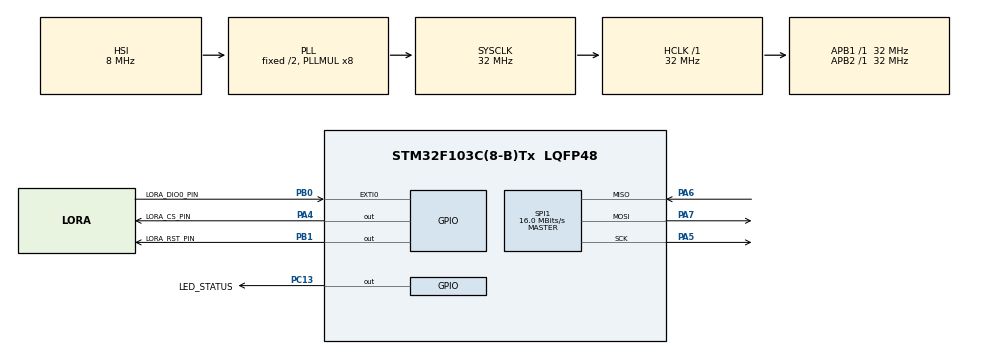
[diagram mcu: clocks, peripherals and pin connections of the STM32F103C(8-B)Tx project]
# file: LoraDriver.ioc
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IWDG.Prescaler=IWDG_PRESCALER_8
Mcu.Family=STM32F1
Mcu.Name=STM32F103C(8-B)Tx
Mcu.Package=LQFP48
NVIC.PriorityGroup=NVIC_PRIORITYGROUP_4
PA13.Mode=Serial_Wire
PA13.Signal=SYS_JTMS-SWDIO
PA14.Mode=Serial_Wire
PA14.Signal=SYS_JTCK-SWCLK
PA4.GPIO_Label=LORA_CS_PIN
PA4.Signal=GPIO_Output
PA5.Mode=Full_Duplex_Master
PA5.Signal=SPI1_SCK
PA6.Mode=Full_Duplex_Master
PA6.Signal=SPI1_MISO
PA7.Mode=Full_Duplex_Master
PA7.Signal=SPI1_MOSI
PB0.GPIO_Label=LORA_DIO0_PIN
PB0.Signal=GPXTI0
PB1.GPIO_Label=LORA_RST_PIN
PB1.GPIO_PuPd=GPIO_PULLDOWN
PB1.Signal=GPIO_Output
PC13-TAMPER-RTC.GPIO_Label=LED_STATUS
PC13-TAMPER-RTC.Signal=GPIO_Output
ProjectManager.HeapSize=0x200
ProjectManager.StackSize=0x400
ProjectManager.TargetToolchain=STM32CubeIDE
RCC.AHBFreq_Value=32000000
RCC.APB1Freq_Value=32000000
RCC.APB1TimFreq_Value=32000000
RCC.APB2Freq_Value=32000000
RCC.APB2TimFreq_Value=32000000
RCC.HCLKFreq_Value=32000000
RCC.PLLMUL=RCC_PLL_MUL8
RCC.SYSCLKFreq_VALUE=32000000
RCC.SYSCLKSource=RCC_SYSCLKSOURCE_PLLCLK
RCC.USBFreq_Value=32000000
SPI1.BaudRatePrescaler=SPI_BAUDRATEPRESCALER_2
SPI1.CLKPhase=SPI_PHASE_1EDGE
SPI1.CalculateBaudRate=16.0 MBits/s
SPI1.Direction=SPI_DIRECTION_2LINES
SPI1.Mode=SPI_MODE_MASTER
SPI1.VirtualType=VM_MASTER
VP_IWDG_VS_IWDG.Mode=IWDG_Activate
board=custom

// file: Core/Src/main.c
/* USER CODE BEGIN Header */
/**
  ******************************************************************************
  * @file           : main.c
  * @brief          : Main program body
  ******************************************************************************
  * @attention
  *
  * Copyright (c) 2026 STMicroelectronics.
  * All rights reserved.
  *
  * This software is licensed under terms that can be found in the LICENSE file
  * in the root directory of this software component.
  * If no LICENSE file comes with this software, it is provided AS-IS.
  *
  ******************************************************************************
  */
/* USER CODE END Header */
#include "main.h"
#include "iwdg.h"
#include "spi.h"
#include "gpio.h"

/* USER CODE BEGIN Includes */
#include "DRV_Lora.h"
/* USER CODE END Includes */

void SystemClock_Config(void);

/* USER CODE BEGIN 0 */
LORA_HandleTypedef Lora_Instance_0 =
{
		.SPI_Instance    = &hspi1,
		.ChipSelectPin   = LORA_CS_PIN_Pin,
		.ChipSelectPort  = LORA_CS_PIN_GPIO_Port,
		.ResetPin        = LORA_RST_PIN_Pin,
		.ResetPort       = LORA_RST_PIN_GPIO_Port,
		.Dio_0_Pin       = LORA_DIO0_PIN_Pin,
		.Dio_0_Port      = LORA_DIO0_PIN_GPIO_Port,
		.OperationMode   = LORA_MODE_POLLING,
		.Bandwidth       = LORA_BW_125_KHZ,
		.Frequency       = 433000000,
		.SpreadingFactor = LORA_SF_7,
		.CodingRate      = LORA_CR_4_5,
		.Power           = LORA_POWER_MAX,
		.RxCallback      = (void*)(0x00),
		.TxCallback      = (void*)(0x00)

};

char *data_test = "Testing transmit and receive for module LoRa";
uint8_t data_rev[50] = {0};

typedef enum {
	IDLE,
	TRANSMIT,
	RECEIVE,
	CONFIRM
} StateMachine_t ;

//#define IS_TRANSMIT
/* USER CODE END 0 */

int main(void)
{

  /* MCU Configuration--------------------------------------------------------*/

  /* Reset of all peripherals, Initializes the Flash interface and the Systick. */
  HAL_Init();

  /* Configure the system clock */
  SystemClock_Config();

  /* Initialize all configured peripherals */
  MX_GPIO_Init();
  MX_SPI1_Init();
  MX_IWDG_Init();
  /* USER CODE BEGIN 2 */
  DRV_LoraInit(&Lora_Instance_0);
#ifndef IS_TRANSMIT
  DRV_LoraSwitchMode(&Lora_Instance_0, LORA_RECEIVE_CONTINUOUS_STATE);
#endif
//  StateMachine = RECEIVE;
//  NVIC_EnableIRQ(EXTI0_IRQn);
  /* USER CODE END 2 */

  /* Infinite loop */
  while (1)
  {

    /* USER CODE BEGIN 3 */
#ifdef IS_TRANSMIT
	static uint8_t timeout = 100 ;
	DRV_LoraTransmit(&Lora_Instance_0, (uint8_t*) data_test, 50, 100);
	DRV_LoraSwitchMode(&Lora_Instance_0, LORA_MODE_RX_CONT);
	while(DRV_LoraAvailable(&Lora_Instance_0) != 1 && timeout --  )
	{
		HAL_Delay(1);
	}
	if ( DRV_LoraAvailable(&Lora_Instance_0) == 1)
	{
		DRV_LoraReceive(&Lora_Instance_0, data_rev, 50, 100);
	}

	if(data_rev[0] == 'T' )
	{
		HAL_GPIO_TogglePin(LED_STATUS_GPIO_Port, LED_STATUS_Pin);
		data_rev[0] = 0 ;
	}
	HAL_Delay(100);
#else
	  if(DRV_LoraAvailable(&Lora_Instance_0) == 1 )
	  {
		  DRV_LoraReceive(&Lora_Instance_0, data_rev, 50, 10);
	  }
	  if(data_rev[0] == 'T')
	  {
		  DRV_LoraTransmit(&Lora_Instance_0, (uint8_t*) "Testing complete", 50, 100);
		  DRV_LoraSwitchMode(&Lora_Instance_0, LORA_MODE_RX_CONT);
		  HAL_GPIO_TogglePin(LED_STATUS_GPIO_Port, LED_STATUS_Pin);
		  data_rev[0] = '\0';
	  }
#endif
//	  HAL_IWDG_Refresh(&hiwdg);
  }
  /* USER CODE END 3 */
}

void SystemClock_Config(void)
{
  RCC_OscInitTypeDef RCC_OscInitStruct = {0};
  RCC_ClkInitTypeDef RCC_ClkInitStruct = {0};

  /** Initializes the RCC Oscillators according to the specified parameters
  * in the RCC_OscInitTypeDef structure.
  */
  RCC_OscInitStruct.OscillatorType = RCC_OSCILLATORTYPE_HSI|RCC_OSCILLATORTYPE_LSI;
  RCC_OscInitStruct.HSIState = RCC_HSI_ON;
  RCC_OscInitStruct.HSICalibrationValue = RCC_HSICALIBRATION_DEFAULT;
  RCC_OscInitStruct.LSIState = RCC_LSI_ON;
  RCC_OscInitStruct.PLL.PLLState = RCC_PLL_ON;
  RCC_OscInitStruct.PLL.PLLSource = RCC_PLLSOURCE_HSI_DIV2;
  RCC_OscInitStruct.PLL.PLLMUL = RCC_PLL_MUL8;
  if (HAL_RCC_OscConfig(&RCC_OscInitStruct) != HAL_OK)
  {
    Error_Handler();
  }

  /** Initializes the CPU, AHB and APB buses clocks
  */
  RCC_ClkInitStruct.ClockType = RCC_CLOCKTYPE_HCLK|RCC_CLOCKTYPE_SYSCLK
                              |RCC_CLOCKTYPE_PCLK1|RCC_CLOCKTYPE_PCLK2;
  RCC_ClkInitStruct.SYSCLKSource = RCC_SYSCLKSOURCE_PLLCLK;
  RCC_ClkInitStruct.AHBCLKDivider = RCC_SYSCLK_DIV1;
  RCC_ClkInitStruct.APB1CLKDivider = RCC_HCLK_DIV1;
  RCC_ClkInitStruct.APB2CLKDivider = RCC_HCLK_DIV1;

  if (HAL_RCC_ClockConfig(&RCC_ClkInitStruct, FLASH_LATENCY_1) != HAL_OK)
  {
    Error_Handler();
  }
}

/* USER CODE BEGIN 4 */
void EXTI0_IRQHandler()
{
	DRV_LoraReceive(&Lora_Instance_0, data_rev, 50, 10);
	__HAL_GPIO_EXTI_CLEAR_IT(LORA_DIO0_PIN_Pin);
}
/* USER CODE END 4 */

void Error_Handler(void)
{
  __disable_irq();
  while (1)
  {
  }
}
